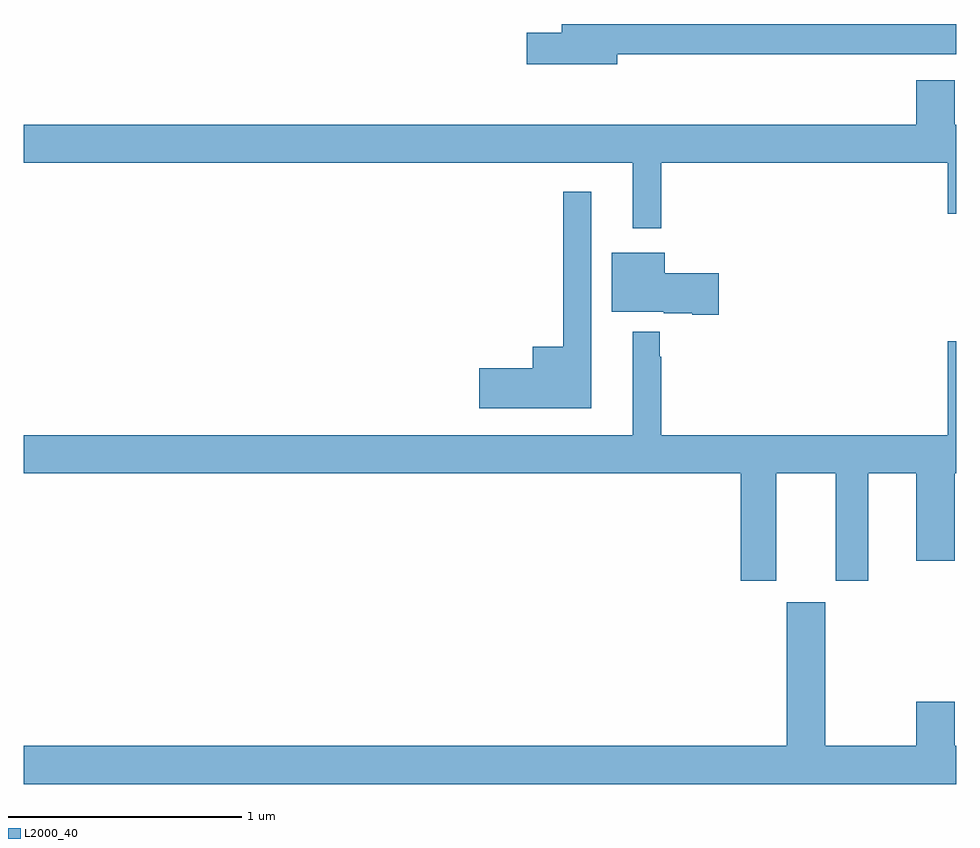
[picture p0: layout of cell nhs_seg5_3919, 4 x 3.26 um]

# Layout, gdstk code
import gdstk
lib = gdstk.Library(unit=1e-6, precision=1e-09)
def P(c, l, *ps):  # polygons
    for p in ps: c.add(gdstk.Polygon(p, *l))
L2000_40 = (2000, 40)

nhs_seg5_3919 = lib.new_cell('nhs_seg5_3919')
P(nhs_seg5_3919, L2000_40, [(343.546,878.538),(344.724,878.538),(344.724,878.537),(345,878.537),(345,878.667),(344.724,878.667),(344.724,878.666),(343.307,878.666),(343.307,878.63),(343.158,878.63),(343.158,878.495),(343.546,878.495)],
  [(343.735,878.072),(344.963,878.072),(344.963,877.854),(345,877.854),(345,878.236),(344.992,878.236),(344.992,878.425),(344.828,878.425),(344.828,878.236),(341,878.236),(341,878.072),(343.613,878.072),(343.613,877.791),(343.735,877.791)],
  [(343.435,877.948),(343.314,877.948),(343.314,877.282),(343.184,877.282),(343.184,877.19),(342.954,877.19),(342.954,877.019),(343.435,877.019)],
  [(343.981,877.599),(343.75,877.599),(343.75,877.687),(343.523,877.687),(343.523,877.433),(343.746,877.433),(343.746,877.427),(343.868,877.427),(343.868,877.421),(343.981,877.421)],
  [(344.227,876.74),(344.483,876.74),(344.483,876.279),(344.623,876.279),(344.623,876.74),(344.828,876.74),(344.828,876.366),(344.992,876.366),(344.992,876.74),(345,876.74),(345,877.306),(344.963,877.306),(344.963,876.904),(343.735,876.904),(343.735,877.241),(343.727,877.241),(343.727,877.348),(343.613,877.348),(343.613,876.904),(341,876.904),(341,876.74),(344.075,876.74),(344.075,876.279),(344.227,876.279)],
  [(345,875.572),(344.992,875.572),(344.992,875.761),(344.828,875.761),(344.828,875.572),(344.437,875.572),(344.437,876.187),(344.273,876.187),(344.273,875.572),(341,875.572),(341,875.408),(345,875.408)])

lib.write_gds('nhs_seg5_3919.gds')
